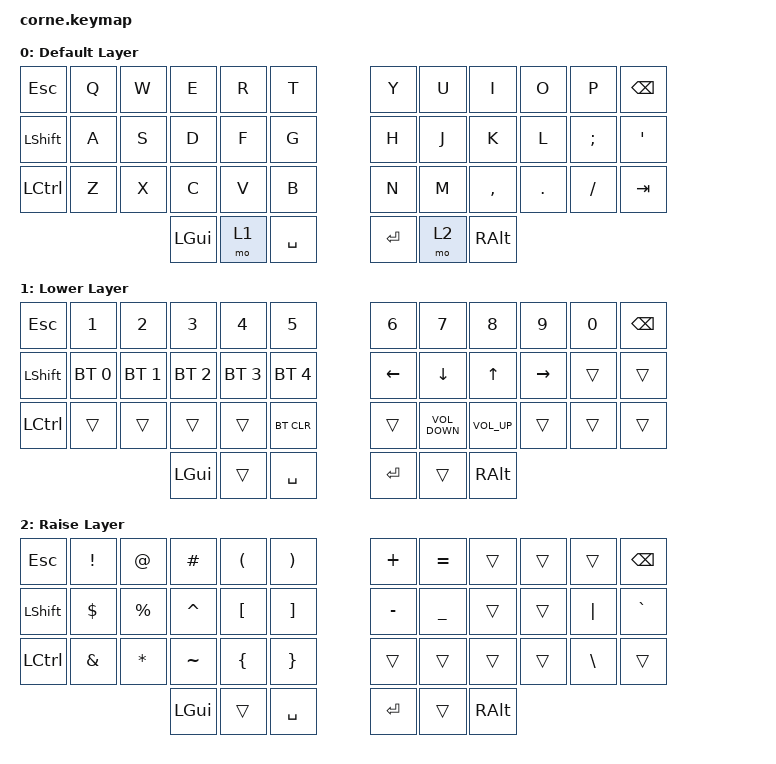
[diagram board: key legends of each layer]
/*
 * Copyright (c) 2020 The ZMK Contributors
 *
 * SPDX-License-Identifier: MIT
 */

#include <behaviors.dtsi>
#include <dt-bindings/zmk/bt.h>
#include <dt-bindings/zmk/keys.h>

/ {
    keymap {
        compatible = "zmk,keymap";

        default_layer {
            display-name = "Default Layer";

            // -----------------------------------------------------------------------------------------
            // |  ESC |  Q  |  W  |  E  |  R  |  T  |   |  Y  |  U   |  I  |  O  |  P  | BSPC |
            // | SHFT |  A  |  S  |  D  |  F  |  G  |   |  H  |  J   |  K  |  L  |  ;  |  '   |
            // | CTRL |  Z  |  X  |  C  |  V  |  B  |   |  N  |  M   |  ,  |  .  |  /  | TAB  |
            //                    | GUI | LWR | SPC |   | ENT | RSE  | ALT |

            bindings = <
&kp ESC    &kp Q  &kp W  &kp E     &kp R  &kp T        &kp Y    &kp U  &kp I      &kp O    &kp P     &kp BSPC
&kp LSHFT  &kp A  &kp S  &kp D     &kp F  &kp G        &kp H    &kp J  &kp K      &kp L    &kp SEMI  &kp SQT
&kp LCTRL  &kp Z  &kp X  &kp C     &kp V  &kp B        &kp N    &kp M  &kp COMMA  &kp DOT  &kp FSLH  &kp TAB
                         &kp LGUI  &mo 1  &kp SPACE    &kp RET  &mo 2  &kp RALT
            >;
        };

        lower_layer {
            display-name = "Lower Layer";

            // -----------------------------------------------------------------------------------------
            // |  ESC |  1  |  2  |  3  |  4  |  5  |   |  6  |  7  |  8  |  9  |  0  | BSPC |
            // | SHFT | BT1 | BT2 | BT3 | BT4 | BT5 |   | LFT | DWN |  UP | RGT |     |      |
            // | CTRL |     |     |     |     |BTCLR|   |     |     |     |     |     |      |
            //                    | GUI |     | SPC |   | ENT |     | ALT |

            bindings = <
&kp ESC     &kp N1        &kp N2        &kp N3        &kp N4        &kp N5          &kp N6    &kp N7             &kp N8           &kp N9     &kp N0  &kp BSPC
&kp LSHFT  &bt BT_SEL 0  &bt BT_SEL 1  &bt BT_SEL 2  &bt BT_SEL 3  &bt BT_SEL 4    &kp LEFT  &kp DOWN           &kp UP           &kp RIGHT  &trans  &trans
&kp LCTRL   &trans        &trans        &trans        &trans        &bt BT_CLR          &trans    &kp C_VOLUME_DOWN  &kp C_VOLUME_UP  &trans     &trans  &trans
                                        &kp LGUI      &trans        &kp SPACE       &kp RET   &trans             &kp RALT
            >;
        };

        raise_layer {
            display-name = "Raise Layer";

            // -----------------------------------------------------------------------------------------
            // |  ESC |  !  |  @  |  #  |  (  |  )  |   |  +  |  =  |     |     |     | BSPC |
            // | SHFT |  $  |  %  |  ^  |  [  |  ]  |   |  -  |  _  |     |     | "|" |  `   |
            // | CTRL |  &  |  *  |  ~  |  {  |  }  |   |     |     |     |     |  \  |      |
            //                    | GUI |     | SPC |   | ENT |     | ALT |

            bindings = <
&kp ESC    &kp EXCL  &kp AT     &kp HASH   &kp LPAR  &kp RPAR     &kp PLUS   &kp EQUAL  &trans    &trans  &trans         &kp BSPC
&kp LSHFT  &kp DLLR  &kp PRCNT  &kp CARET  &kp LBKT  &kp RBKT     &kp MINUS  &kp UNDER  &trans    &trans  &kp PIPE       &kp GRAVE
&kp LCTRL  &kp AMPS  &kp ASTRK  &kp TILDE  &kp LBRC  &kp RBRC     &trans     &trans     &trans    &trans  &kp BACKSLASH  &trans
                                &kp LGUI   &trans    &kp SPACE    &kp RET    &trans     &kp RALT
            >;
        };
    };
};
